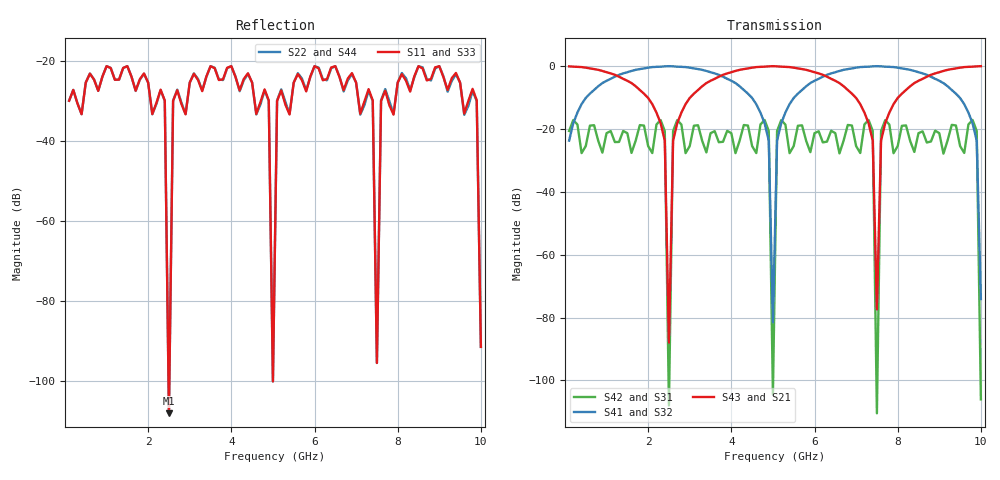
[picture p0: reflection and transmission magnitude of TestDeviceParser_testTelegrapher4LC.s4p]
# MHz MA S R 50.0
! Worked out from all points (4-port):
!   100 points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, 100 MHz to 10 GHz, reference 50 ohm
!   strongest paths, dB at 100 MHz, 2.6 GHz, 5.1 GHz, 7.6 GHz, 10 GHz:
!     S43: -0.1, -23.7, -0.1, -23.7, 0.0
!     S21: -0.1, -23.7, -0.1, -23.7, 0.0
!     S41: -23.7, -0.1, -23.7, -0.1, -74.1
!     S32: -23.7, -0.1, -23.7, -0.1, -74.1
!     S42: -20.6, -20.6, -20.6, -20.6, -106.0
!     S31: -20.6, -20.6, -20.6, -20.6, -106.0
!   lowest |S11| = -108.0 dB at 2.5 GHz (marker M1), VSWR 1.00, Z = 50 + j0.0004 ohm
!   |S11| at or under -10 dB: start of sweep to end of sweep
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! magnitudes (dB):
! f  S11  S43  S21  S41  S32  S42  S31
! 100 MHz  -29.9  -0.1  -0.1  -23.7  -23.7  -20.6  -20.6
! 2.5 GHz  -108.0  -88.0  -88.0  0.0  0.0  -108.0  -108.0
! 3.3 GHz  -27.5  -6.4  -6.4  -1.2  -1.2  -23.8  -23.7
! 5 GHz  -100.0  0.0  0.0  -81.5  -81.5  -104.4  -104.4
! 7.5 GHz  -95.4  -77.4  -77.4  0.0  0.0  -110.5  -110.5
! 9.8 GHz  -27.0  -0.2  -0.2  -18.2  -18.2  -17.1  -17.2
! 10 GHz  -91.4  0.0  0.0  -74.1  -74.1  -106.0  -106.0
